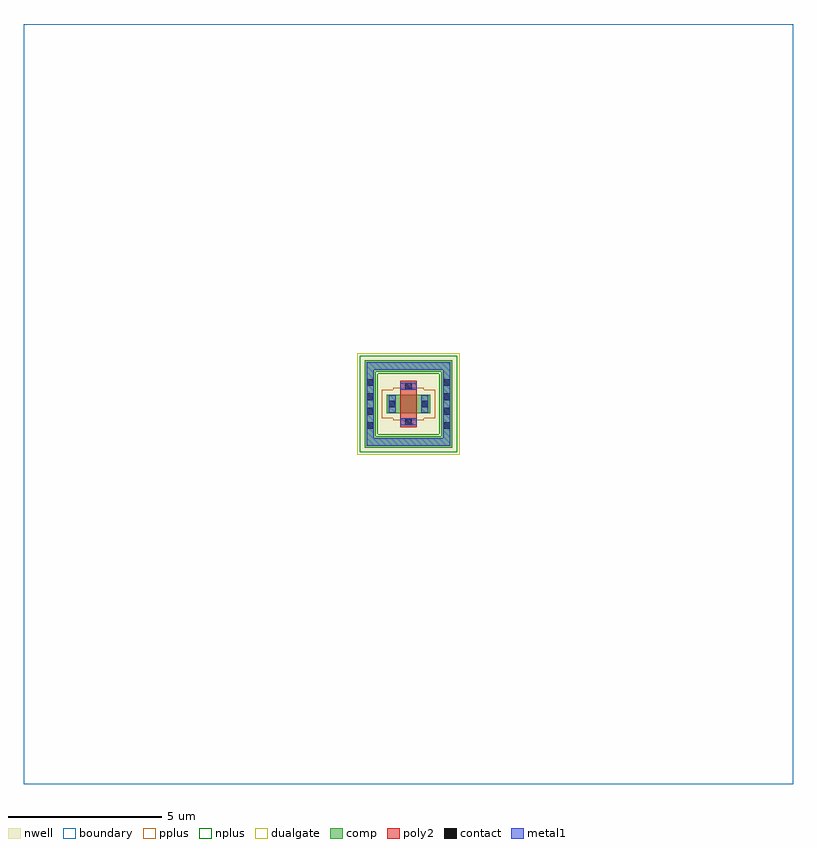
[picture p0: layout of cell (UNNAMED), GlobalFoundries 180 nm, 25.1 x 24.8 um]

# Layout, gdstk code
import gdstk
lib = gdstk.Library(unit=1e-6, precision=1e-09)
def R(c, l, rs):  # rectangles x0, y0, x1, y1
    for r in rs: c.add(gdstk.rectangle(r[:2], r[2:], *l))
def A(c, l, x, y, w, h, nx, ny, dx, dy):  # array of equal rectangles
    R(c, l, [(x+i*dx, y+j*dy, x+i*dx+w, y+j*dy+h) for i in range(nx) for j in range(ny)])
boundary = (0, 0)
nwell = (21, 0)
comp = (22, 0)
poly2 = (30, 0)
pplus = (31, 0)
nplus = (32, 0)
contact = (33, 0)
metal1 = (34, 0)
dualgate = (55, 0)

c__unnamed_ = lib.new_cell('(UNNAMED)')
R(c__unnamed_, boundary, [(-12.55,-12.4,12.55,12.4)])
R(c__unnamed_, nwell, [(-1.595,-1.58,1.595,1.58)])
R(c__unnamed_, comp, [(-1.435,-1.42,1.435,-1.06), (-1.435,-1.06,-1.075,1.06), (1.075,-1.06,1.435,1.06), (-0.715,-0.3,0.715,0.3), (-1.435,1.06,1.435,1.42)])
R(c__unnamed_, poly2, [(-0.275,-0.76,0.275,0.76)])
R(c__unnamed_, pplus, [(-0.505,-0.53,0.505,-0.46), (-0.875,-0.46,0.875,0.46), (-0.505,0.46,0.505,0.53)])
R(c__unnamed_, nplus, [(-1.595,-1.58,1.595,-0.99), (-1.595,-0.99,-1.005,0.99), (1.005,-0.99,1.595,0.99), (-1.595,0.99,1.595,1.58)])
A(c__unnamed_, contact, -1.365, -0.815, 0.22, 0.22, 1, 4, 0, 0.47)
A(c__unnamed_, contact, 1.145, -0.815, 0.22, 0.22, 1, 4, 0, 0.47)
R(c__unnamed_, contact, [(-0.11,-0.69,0.11,-0.47), (-0.645,-0.11,-0.425,0.11), (0.425,-0.11,0.645,0.11), (-0.11,0.47,0.11,0.69)])
R(c__unnamed_, metal1, [(-1.37,-1.355,1.37,-1.125), (-1.37,-1.125,-1.14,1.125), (1.14,-1.125,1.37,1.125), (-0.265,-0.695,0.265,-0.465), (-0.65,-0.29,-0.42,0.29), (0.42,-0.29,0.65,0.29), (-0.265,0.465,0.265,0.695), (-1.37,1.125,1.37,1.355)])
R(c__unnamed_, dualgate, [(-1.675,-1.66,1.675,1.66)])

lib.write_gds('_UNNAMED_.gds')
